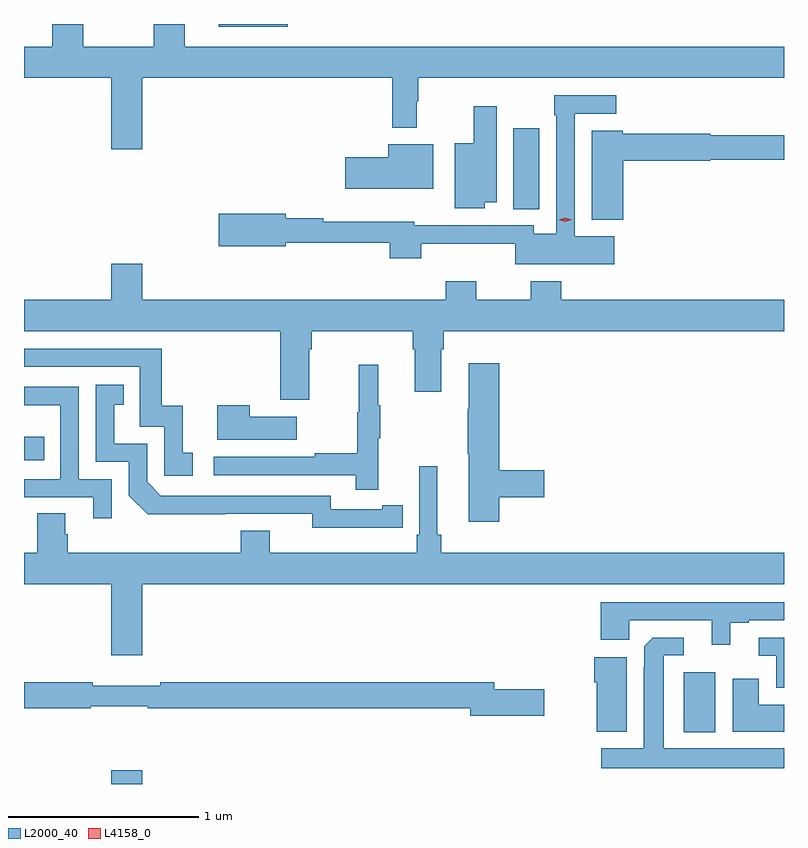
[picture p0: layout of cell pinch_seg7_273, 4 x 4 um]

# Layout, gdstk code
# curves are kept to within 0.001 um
import gdstk
lib = gdstk.Library(unit=1e-6, precision=1e-09)
def R(c, l, rs):  # rectangles x0, y0, x1, y1
    for r in rs: c.add(gdstk.rectangle(r[:2], r[2:], *l))
def P(c, l, *ps):  # polygons
    for p in ps: c.add(gdstk.Polygon(p, *l))
L2000_40 = (2000, 40)
L4158_0 = (4158, 0)

pinch_seg7_273 = lib.new_cell('pinch_seg7_273')
R(pinch_seg7_273, L2000_40, [(584.588,1038.192,584.752,1038.265), (587.603,1038.464,587.767,1038.781), (584.13,1039.896,584.237,1040.019), (586.706,1041.217,586.843,1041.643), (585.155,1042.178,585.517,1042.192)])
P(pinch_seg7_273, L2000_40, [(584.752,1041.908),(586.069,1041.908),(586.069,1041.645),(586.198,1041.645),(586.198,1041.785),(586.205,1041.785),(586.205,1041.908),(588.13,1041.908),(588.13,1042.072),(584.977,1042.072),(584.977,1042.192),(584.813,1042.192),(584.813,1042.072),(584.443,1042.072),(584.443,1042.192),(584.279,1042.192),(584.279,1042.072),(584.13,1042.072),(584.13,1041.908),(584.588,1041.908),(584.588,1041.534),(584.752,1041.534)],
  [(587.236,1041.076),(587.028,1041.076),(587.028,1041.72),(587.248,1041.72),(587.248,1041.816),(586.92,1041.816),(586.92,1041.713),(586.932,1041.713),(586.932,1041.088),(586.812,1041.088),(586.812,1041.132),(586.185,1041.132),(586.185,1041.151),(585.704,1041.151),(585.704,1041.17),(585.508,1041.17),(585.508,1041.194),(585.156,1041.194),(585.156,1041.023),(585.508,1041.023),(585.508,1041.042),(586.055,1041.042),(586.055,1040.96),(586.22,1040.96),(586.22,1041.035),(586.716,1041.035),(586.716,1040.927),(587.236,1040.927)],
  [(586.555,1041.254),(586.618,1041.254),(586.618,1041.76),(586.496,1041.76),(586.496,1041.565),(586.397,1041.565),(586.397,1041.221),(586.555,1041.221)],
  [(587.284,1041.473),(587.742,1041.473),(587.742,1041.478),(588.13,1041.478),(588.13,1041.607),(587.742,1041.607),(587.742,1041.615),(587.28,1041.615),(587.28,1041.631),(587.117,1041.631),(587.117,1041.161),(587.284,1041.161)],
  [(586.285,1041.559),(586.046,1041.559),(586.046,1041.492),(585.822,1041.492),(585.822,1041.326),(586.285,1041.326)],
  [(585.631,1040.48),(585.644,1040.48),(585.644,1040.576),(586.175,1040.576),(586.175,1040.48),(586.187,1040.48),(586.187,1040.256),(586.327,1040.256),(586.327,1040.48),(586.34,1040.48),(586.34,1040.576),(588.13,1040.576),(588.13,1040.74),(586.958,1040.74),(586.958,1040.839),(586.798,1040.839),(586.798,1040.74),(586.509,1040.74),(586.509,1040.839),(586.349,1040.839),(586.349,1040.74),(584.752,1040.74),(584.752,1040.929),(584.588,1040.929),(584.588,1040.74),(584.13,1040.74),(584.13,1040.576),(585.479,1040.576),(585.479,1040.214),(585.631,1040.214)],
  [(585.019,1039.935),(584.966,1039.935),(584.966,1040.182),(584.855,1040.182),(584.855,1040.484),(584.13,1040.484),(584.13,1040.388),(584.739,1040.388),(584.739,1040.073),(584.868,1040.073),(584.868,1039.815),(585.019,1039.815)],
  [(586.631,1039.702),(586.867,1039.702),(586.867,1039.844),(586.631,1039.844),(586.631,1040.407),(586.472,1040.407),(586.472,1040.168),(586.465,1040.168),(586.465,1039.927),(586.472,1039.927),(586.472,1039.572),(586.631,1039.572)],
  [(585.995,1040.011),(586.006,1040.011),(586.006,1040.185),(585.995,1040.185),(585.995,1040.398),(585.892,1040.398),(585.892,1040.148),(585.885,1040.148),(585.885,1039.934),(585.661,1039.934),(585.661,1039.914),(585.129,1039.914),(585.129,1039.818),(585.877,1039.818),(585.877,1039.74),(585.995,1039.74)],
  [(586.016,1039.542),(586.124,1039.542),(586.124,1039.658),(586.016,1039.658),(586.016,1039.638),(585.744,1039.638),(585.744,1039.71),(584.85,1039.71),(584.778,1039.782),(584.778,1039.983),(584.605,1039.983),(584.605,1040.187),(584.654,1040.187),(584.654,1040.293),(584.508,1040.293),(584.508,1039.887),(584.682,1039.887),(584.682,1039.71),(584.78,1039.613),(585.648,1039.614),(585.648,1039.541)],
  [(584.592,1039.797),(584.418,1039.797),(584.418,1040.283),(584.13,1040.283),(584.13,1040.186),(584.322,1040.186),(584.322,1039.797),(584.13,1039.797),(584.13,1039.701),(584.495,1039.701),(584.495,1039.59),(584.592,1039.59)],
  [(585.565,1040.125),(585.317,1040.125),(585.317,1040.185),(585.146,1040.185),(585.146,1040.003),(585.565,1040.003)],
  [(588.13,1039.408),(586.325,1039.408),(586.325,1039.504),(586.306,1039.504),(586.306,1039.864),(586.209,1039.864),(586.209,1039.504),(586.196,1039.504),(586.196,1039.408),(585.424,1039.408),(585.424,1039.525),(585.272,1039.525),(585.272,1039.408),(584.36,1039.408),(584.36,1039.506),(584.347,1039.506),(584.347,1039.616),(584.2,1039.616),(584.2,1039.408),(584.13,1039.408),(584.13,1039.244),(584.588,1039.244),(584.588,1038.87),(584.752,1038.87),(584.752,1039.244),(588.13,1039.244)],
  [(587.848,1039.041),(587.944,1039.041),(587.944,1039.053),(588.13,1039.053),(588.13,1039.149),(587.165,1039.149),(587.165,1038.95),(587.316,1038.95),(587.316,1039.053),(587.75,1039.053),(587.75,1038.924),(587.848,1038.924)],
  [(588.13,1038.379),(587.497,1038.379),(587.497,1038.87),(587.602,1038.87),(587.602,1038.963),(587.44,1038.963),(587.394,1038.917),(587.393,1038.379),(587.169,1038.379),(587.169,1038.275),(588.13,1038.275)],
  [(588.13,1038.963),(587.997,1038.963),(587.997,1038.867),(588.089,1038.867),(588.089,1038.698),(588.13,1038.698)],
  [(587.302,1038.859),(587.132,1038.859),(587.132,1038.728),(587.144,1038.728),(587.144,1038.467),(587.302,1038.467)],
  [(588.13,1038.61),(587.998,1038.61),(587.998,1038.745),(587.861,1038.745),(587.861,1038.467),(588.13,1038.467)],
  [(586.867,1038.692),(586.606,1038.692),(586.606,1038.728),(584.848,1038.728),(584.848,1038.709),(584.492,1038.709),(584.492,1038.728),(584.13,1038.728),(584.13,1038.592),(584.482,1038.592),(584.482,1038.6),(584.782,1038.6),(584.782,1038.592),(586.478,1038.592),(586.478,1038.55),(586.867,1038.55)])
P(pinch_seg7_273, L4158_0, [(586.979,1041.152),(586.944,1041.162),(586.944,1041.162),(586.944,1041.162),(586.979,1041.172),(587.014,1041.162),(587.014,1041.162),(587.014,1041.162)])

lib.write_gds('pinch_seg7_273.gds')
